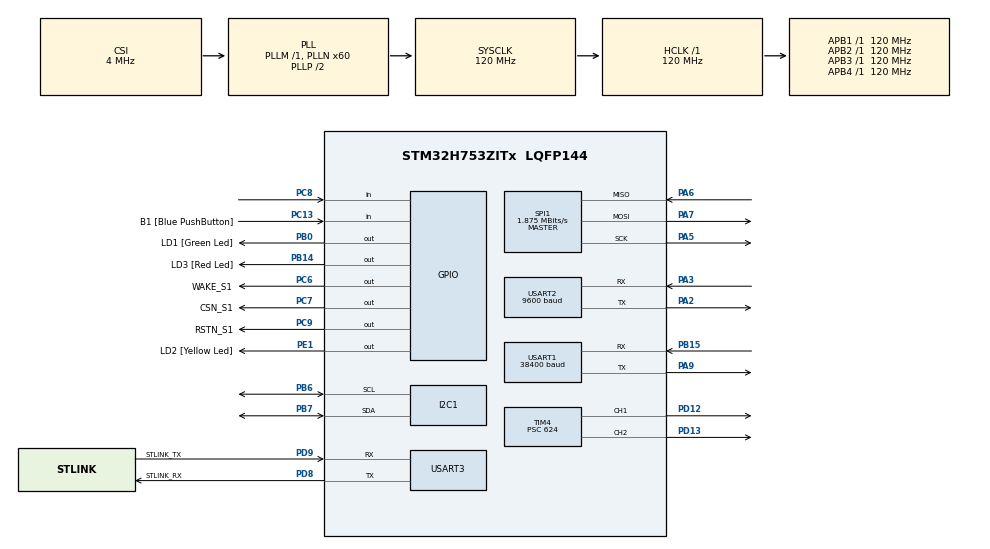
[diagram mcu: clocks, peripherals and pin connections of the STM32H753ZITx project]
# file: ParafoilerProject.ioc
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CORTEX_M7.CPU_DCache=Disabled
CORTEX_M7.CPU_ICache=Disabled
CORTEX_M7.MPU_Control=__NULL
CORTEX_M7.default_mode_Activation=1
Dma.Request0=USART1_RX
Dma.USART1_RX.0.Direction=DMA_PERIPH_TO_MEMORY
Dma.USART1_RX.0.EventEnable=DISABLE
Dma.USART1_RX.0.FIFOMode=DMA_FIFOMODE_DISABLE
Dma.USART1_RX.0.Instance=DMA1_Stream0
Dma.USART1_RX.0.MemDataAlignment=DMA_MDATAALIGN_BYTE
Dma.USART1_RX.0.MemInc=DMA_MINC_ENABLE
Dma.USART1_RX.0.Mode=DMA_NORMAL
Dma.USART1_RX.0.PeriphDataAlignment=DMA_PDATAALIGN_BYTE
Dma.USART1_RX.0.PeriphInc=DMA_PINC_DISABLE
Dma.USART1_RX.0.Polarity=HAL_DMAMUX_REQ_GEN_RISING
Dma.USART1_RX.0.Priority=DMA_PRIORITY_HIGH
Dma.USART1_RX.0.RequestNumber=1
Dma.USART1_RX.0.SignalID=NONE
Dma.USART1_RX.0.SyncEnable=DISABLE
Dma.USART1_RX.0.SyncPolarity=HAL_DMAMUX_SYNC_NO_EVENT
Dma.USART1_RX.0.SyncRequestNumber=1
Dma.USART1_RX.0.SyncSignalID=NONE
FREERTOS.BinarySemaphores01=newCoordAvailable_sem,Dynamic,NULL,Depleted
FREERTOS.Tasks01=defaultTask,40,128,StartDefaultTask,Default,NULL,Dynamic,NULL,NULL;readGPS,24,128,read_GPS,Default,NULL,Dynamic,NULL,NULL;UpdateServos,24,128,updateServos,Default,NULL,Dynamic,NULL,NULL;ReadCoord,8,128,readCoord,Default,NULL,Dynamic,NULL,NULL;SendData,8,128,sendData,Default,NULL,Dynamic,NULL,NULL
FREERTOS.configUSE_NEWLIB_REENTRANT=1
Mcu.Family=STM32H7
Mcu.Name=STM32H753ZITx
Mcu.Package=LQFP144
NVIC.DMA1_Stream0_IRQn=true\:5\:0\:false\:false\:true\:true\:false\:true\:true
NVIC.I2C1_ER_IRQn=true\:5\:0\:false\:false\:true\:true\:true\:true\:true
NVIC.I2C1_EV_IRQn=true\:5\:0\:false\:false\:true\:true\:true\:true\:true
NVIC.PriorityGroup=NVIC_PRIORITYGROUP_4
NVIC.TIM6_DAC_IRQn=true\:15\:0\:false\:false\:true\:false\:false\:true\:true
NVIC.TimeBase=TIM6_DAC_IRQn
NVIC.TimeBaseIP=TIM6
NVIC.USART1_IRQn=true\:5\:0\:false\:false\:true\:true\:true\:true\:true
NVIC.USART2_IRQn=true\:5\:0\:false\:false\:true\:true\:true\:true\:true
PA2.Mode=Asynchronous
PA2.Signal=USART2_TX
PA3.Mode=Asynchronous
PA3.Signal=USART2_RX
PA5.Mode=Full_Duplex_Master
PA5.Signal=SPI1_SCK
PA6.Mode=Full_Duplex_Master
PA6.Signal=SPI1_MISO
PA7.Mode=Full_Duplex_Master
PA7.Signal=SPI1_MOSI
PA9.Mode=Asynchronous
PA9.Signal=USART1_TX
PB0.GPIO_Label=LD1 [Green Led]
PB0.Signal=GPIO_Output
PB14.GPIO_Label=LD3 [Red Led]
PB14.Signal=GPIO_Output
PB15.Mode=Asynchronous
PB15.Signal=USART1_RX
PB6.Mode=I2C
PB6.Signal=I2C1_SCL
PB7.Mode=I2C
PB7.Signal=I2C1_SDA
PC13.GPIO_Label=B1 [Blue PushButton]
PC13.Signal=GPIO_Input
PC14-OSC32_IN\ (OSC32_IN).Signal=RCC_OSC32_IN
PC15-OSC32_OUT\ (OSC32_OUT).Signal=RCC_OSC32_OUT
PC6.GPIO_Label=WAKE_S1
PC6.Signal=GPIO_Output
PC7.GPIO_Label=CSN_S1
PC7.Signal=GPIO_Output
PC8.Signal=GPIO_Input
PC9.GPIO_Label=RSTN_S1
PC9.Signal=GPIO_Output
PD12.Signal=S_TIM4_CH1
PD13.Signal=S_TIM4_CH2
PD8.GPIO_Label=STLINK_RX
PD8.Mode=Asynchronous
PD8.Signal=USART3_TX
PD9.GPIO_Label=STLINK_TX
PD9.Mode=Asynchronous
PD9.Signal=USART3_RX
PE1.GPIO_Label=LD2 [Yellow Led]
PE1.Signal=GPIO_Output
PH0-OSC_IN\ (PH0).Signal=RCC_OSC_IN
PH1-OSC_OUT\ (PH1).Signal=RCC_OSC_OUT
ProjectManager.HeapSize=0x200
ProjectManager.StackSize=0x400
ProjectManager.TargetToolchain=STM32CubeIDE
RCC.ADCFreq_Value=8062500
RCC.APB1Freq_Value=120000000
RCC.APB2Freq_Value=120000000
RCC.APB3Freq_Value=120000000
RCC.APB4Freq_Value=120000000
RCC.CortexFreq_Value=120000000
RCC.DIVM1=1
RCC.DIVN1=60
RCC.HCLKFreq_Value=120000000
RCC.HSE_VALUE=8000000
RCC.I2C123CLockSelection=RCC_I2C123CLKSOURCE_HSI
RCC.PLLFRACN=0
RCC.PLLSourceVirtual=RCC_PLLSOURCE_CSI
RCC.PWR_Regulator_Voltage_Scale=PWR_REGULATOR_VOLTAGE_SCALE2
RCC.SYSCLKFreq_VALUE=120000000
RCC.SYSCLKSource=RCC_SYSCLKSOURCE_PLLCLK
RCC.USART16CLockSelection=RCC_USART16CLKSOURCE_HSI
RCC.USART234578CLockSelection=RCC_USART234578CLKSOURCE_HSI
RCC.USBFreq_Value=120000000
SH.S_TIM4_CH1.0=TIM4_CH1,PWM Generation1 CH1
SH.S_TIM4_CH2.0=TIM4_CH2,PWM Generation2 CH2
SPI1.BaudRatePrescaler=SPI_BAUDRATEPRESCALER_64
SPI1.CLKPhase=SPI_PHASE_2EDGE
SPI1.CLKPolarity=SPI_POLARITY_HIGH
SPI1.CalculateBaudRate=1.875 MBits/s
SPI1.DataSize=SPI_DATASIZE_8BIT
SPI1.Direction=SPI_DIRECTION_2LINES
SPI1.Mode=SPI_MODE_MASTER
SPI1.NSSPMode=SPI_NSS_PULSE_DISABLE
SPI1.VirtualType=VM_MASTER
TIM4.Channel-PWM\ Generation1\ CH1=TIM_CHANNEL_1
TIM4.Channel-PWM\ Generation2\ CH2=TIM_CHANNEL_2
TIM4.Period=3840
TIM4.Prescaler=624
USART1.BaudRate=38400
USART1.VirtualMode-Asynchronous=VM_ASYNC
USART2.BaudRate=9600
USART2.VirtualMode-Asynchronous=VM_ASYNC
USART3.VirtualMode-Asynchronous=VM_ASYNC
VP_FREERTOS_VS_CMSIS_V2.Mode=CMSIS_V2
VP_MEMORYMAP_VS_MEMORYMAP.Mode=CurAppReg
VP_SYS_VS_tim6.Mode=TIM6
VP_TIM4_VS_ClockSourceINT.Mode=Internal
board=NUCLEO-H753ZI

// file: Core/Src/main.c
/* USER CODE BEGIN Header */
/**
  ******************************************************************************
  * @file           : main.c
  * @brief          : Main program body
  ******************************************************************************
  * @attention
  *
  * Copyright (c) 2025 STMicroelectronics.
  * All rights reserved.
  *
  * This software is licensed under terms that can be found in the LICENSE file
  * in the root directory of this software component.
  * If no LICENSE file comes with this software, it is provided AS-IS.
  *
  ******************************************************************************
  */
/* USER CODE END Header */
#include "main.h"
#include "cmsis_os.h"

/* USER CODE BEGIN Includes */
#include "spi.h"
#include "Xbee.h"
#include <stdio.h>
#include "Servo.h"
#include "NEO_M9_UART.h"
#include <math.h>
#include <string.h>
#include <Hardware_Init.h>
/* USER CODE END Includes */

/* USER CODE BEGIN PD */
#define SPI1_PORT       GPIOA
#define SPI1_SCK_PIN    GPIO_PIN_5
#define SPI1_MISO_PIN   GPIO_PIN_6
#define SPI1_MOSI_PIN   GPIO_PIN_7
#define SPI1_AF_MAPPING GPIO_AF5_SPI1

#define CSN_PORT_S1     CSN_S1_GPIO_Port
#define CSN_PIN_S1      CSN_S1_Pin
#define INTN_PORT_S1    GPIOC
#define INTN_PIN_S1     GPIO_PIN_8
#define RSTN_PORT_S1    RSTN_S1_GPIO_Port
#define RSTN_PIN_S1     RSTN_S1_Pin
#define WAKE_PORT_S1    WAKE_S1_GPIO_Port
#define WAKE_PIN_S1     WAKE_S1_Pin
/* USER CODE END PD */

I2C_HandleTypeDef hi2c1;

TIM_HandleTypeDef htim4;

UART_HandleTypeDef huart1;
UART_HandleTypeDef huart2;
UART_HandleTypeDef huart3;
DMA_HandleTypeDef hdma_usart1_rx;

/* USER CODE BEGIN PV */
sensor_meta sensor1 = {0}; // zero-initialize the sensor metadata struct

extern uint8_t NEW_COORD_BUF[8];
extern volatile uint8_t new_coord_flag;
extern osSemaphoreId_t gpsDataReadySemHandle;
GPS_Info currLocation = {0};
GPS_Info targetLocation = {0};

volatile uint16_t gps_data_length = 0;

/* USER CODE END PV */

void SystemClock_Config(void);
static void MX_GPIO_Init(void);
static void MX_DMA_Init(void);
static void MX_USART2_UART_Init(void);
static void MX_USART3_UART_Init(void);
static void MX_TIM4_Init(void);
static void MX_I2C1_Init(void);
static void MX_USART1_UART_Init(void);

/* USER CODE BEGIN PFP */
static void MX_DWT_Init(void);

/* USER CODE END PFP */

/* USER CODE BEGIN 0 */
// This is the required shim function for microsecond delays
void delay_Us(uint32_t micros) {
    uint32_t start = DWT->CYCCNT;
    uint32_t cycles = micros * (SystemCoreClock / 1000000);
    while ((DWT->CYCCNT - start) < cycles) {
    }
}

/* USER CODE END 0 */

int main(void)
{

  /* MCU Configuration--------------------------------------------------------*/

  /* Reset of all peripherals, Initializes the Flash interface and the Systick. */
  HAL_Init();

  /* Configure the system clock */
  SystemClock_Config();

  /* Initialize all configured peripherals */
  MX_GPIO_Init();
  MX_DMA_Init();
  MX_USART2_UART_Init();
  MX_USART3_UART_Init();
  MX_TIM4_Init();
  MX_I2C1_Init();
  MX_USART1_UART_Init();
  MX_SPI1_Init();
  /* USER CODE BEGIN 2 */
  MX_DWT_Init(); // Initialize the cycle counter for delay_Us
  extern uint8_t _end;
  extern uint8_t _estack;
  uint32_t total_ram = (uint32_t)&_estack - (uint32_t)&_end;
  printf("Total available RAM: %lu bytes\r\n", total_ram);
  uint8_t startup_status = N_ERR;

  HAL_Delay(1000);
  // 1. Register Sensor Pins
  register_Sensor(&sensor1, 1, CSN_PIN_S1, CSN_PORT_S1, INTN_PIN_S1, INTN_PORT_S1, RSTN_PIN_S1, RSTN_PORT_S1);

  // 2. Initialize the library's hardware functions.
  bno085_library_spi_config_struct spi_config = {
      .SPI_Instance = SPI1
  };
  init_Hardware_BNO085(&hspi1, spi_config);

  // 3. Initialize the BNO085 Sensor
  printf("Initializing BNO085...\r\n");
  HAL_GPIO_WritePin(WAKE_PORT_S1, WAKE_PIN_S1, GPIO_PIN_SET);
  HAL_Delay(10);  // Give time for the pin to stabilize
  // Ensure CSN is HIGH (deselected) before reset
  HAL_GPIO_WritePin(CSN_PORT_S1, CSN_PIN_S1, GPIO_PIN_SET);
  HAL_Delay(10);
  // 3. Initialize GPIO and perform hard reset
  init_GPIO_IMU(&sensor1);
  // Ensure WAKE is still HIGH after GPIO init
  HAL_GPIO_WritePin(WAKE_PORT_S1, WAKE_PIN_S1, GPIO_PIN_SET);
  HAL_Delay(10);
  // Perform hard reset
  printf("Performing hard reset...\r\n");
  hardreset_IMU(&sensor1);
  // Wait longer for sensor to boot after reset
  HAL_Delay(500);
  // Check INTN pin - should be LOW if sensor has data
  printf("INTN pin state after reset: %d (should be 0)\r\n",
         HAL_GPIO_ReadPin(sensor1.ports_pins.INTN_Port,
                          sensor1.ports_pins.INTN_Pin));
  // clear advertisement packets
  printf("Clearing first advertisement packet...\r\n");
  startup_status = clear_init_Message_IMU(&sensor1);
  if(startup_status != N_ERR) {
      printf("Error: BNO085 did not send first advertisement packet.\r\n");
      printf("This likely means sensor is not in SPI mode or not powered correctly.\r\n");
      Error_Handler();
  }
  printf("First advertisement packet cleared.\r\n");

  // Clear the second advertisement packet
  HAL_Delay(50);
  printf("Clearing second advertisement packet...\r\n");
  startup_status = clear_init_Message_IMU(&sensor1);
  if(startup_status != N_ERR) {
      printf("Error: BNO085 did not send second advertisement packet.\r\n");
      Error_Handler();
  }
  printf("BNO085 advertisement packets cleared.\r\n");
  printf("BNO085 initialization successful.\r\n");
  printf("Initializing XBee...\r\n");
  xbee_init(&huart2);
  printf("Starting servo PWM...\r\n");
  servo_init(&htim4);
  printf("Configuring GPS module...\r\n");
  M9N_Init(&huart1);
  printf("About to initialize RTOS...\r\n");
  printf("Heap configuration: %d bytes\r\n", configTOTAL_HEAP_SIZE);
  // Check if heap_4.c is properly linked
  /* USER CODE END 2 */

  /* Init scheduler */
  osKernelInitialize();
  /* USER CODE BEGIN RTOS_MUTEX */
  printf("RTOS Kernel Initialized.\r\n");
  /* add mutexes, ... */
  /* USER CODE END RTOS_MUTEX */

  /* USER CODE BEGIN RTOS_EVENTS */
  /* add events, ... */
  printf("About to call MX_FREERTOS_Init()...\r\n");
  MX_FREERTOS_Init();
  printf("MX_FREERTOS_Init() complete.\r\n");
  printf("Free heap after task creation: %lu bytes\r\n", xPortGetFreeHeapSize());
  printf("Starting Scheduler...\r\n");
  /* USER CODE END RTOS_EVENTS */

  /* Start scheduler */

  osKernelStart();

  /* We should never get here as control is now taken by the scheduler */

  /* Infinite loop */
  while (1)
  {

  }
}

void SystemClock_Config(void)
{
  RCC_OscInitTypeDef RCC_OscInitStruct = {0};
  RCC_ClkInitTypeDef RCC_ClkInitStruct = {0};

  /** Supply configuration update enable
  */
  HAL_PWREx_ConfigSupply(PWR_LDO_SUPPLY);

  /** Configure the main internal regulator output voltage
  */
  __HAL_PWR_VOLTAGESCALING_CONFIG(PWR_REGULATOR_VOLTAGE_SCALE2);

  while(!__HAL_PWR_GET_FLAG(PWR_FLAG_VOSRDY)) {}

  /** Initializes the RCC Oscillators according to the specified parameters
  * in the RCC_OscInitTypeDef structure.
  */
  RCC_OscInitStruct.OscillatorType = RCC_OSCILLATORTYPE_CSI|RCC_OSCILLATORTYPE_HSI;
  RCC_OscInitStruct.HSIState = RCC_HSI_DIV1;
  RCC_OscInitStruct.HSICalibrationValue = RCC_HSICALIBRATION_DEFAULT;
  RCC_OscInitStruct.CSIState = RCC_CSI_ON;
  RCC_OscInitStruct.CSICalibrationValue = RCC_CSICALIBRATION_DEFAULT;
  RCC_OscInitStruct.PLL.PLLState = RCC_PLL_ON;
  RCC_OscInitStruct.PLL.PLLSource = RCC_PLLSOURCE_CSI;
  RCC_OscInitStruct.PLL.PLLM = 1;
  RCC_OscInitStruct.PLL.PLLN = 60;
  RCC_OscInitStruct.PLL.PLLP = 2;
  RCC_OscInitStruct.PLL.PLLQ = 2;
  RCC_OscInitStruct.PLL.PLLR = 2;
  RCC_OscInitStruct.PLL.PLLRGE = RCC_PLL1VCIRANGE_2;
  RCC_OscInitStruct.PLL.PLLVCOSEL = RCC_PLL1VCOWIDE;
  RCC_OscInitStruct.PLL.PLLFRACN = 0;
  if (HAL_RCC_OscConfig(&RCC_OscInitStruct) != HAL_OK)
  {
    Error_Handler();
  }

  /** Initializes the CPU, AHB and APB buses clocks
  */
  RCC_ClkInitStruct.ClockType = RCC_CLOCKTYPE_HCLK|RCC_CLOCKTYPE_SYSCLK
                              |RCC_CLOCKTYPE_PCLK1|RCC_CLOCKTYPE_PCLK2
                              |RCC_CLOCKTYPE_D3PCLK1|RCC_CLOCKTYPE_D1PCLK1;
  RCC_ClkInitStruct.SYSCLKSource = RCC_SYSCLKSOURCE_PLLCLK;
  RCC_ClkInitStruct.SYSCLKDivider = RCC_SYSCLK_DIV1;
  RCC_ClkInitStruct.AHBCLKDivider = RCC_HCLK_DIV1;
  RCC_ClkInitStruct.APB3CLKDivider = RCC_APB3_DIV1;
  RCC_ClkInitStruct.APB1CLKDivider = RCC_APB1_DIV1;
  RCC_ClkInitStruct.APB2CLKDivider = RCC_APB2_DIV1;
  RCC_ClkInitStruct.APB4CLKDivider = RCC_APB4_DIV1;

  if (HAL_RCC_ClockConfig(&RCC_ClkInitStruct, FLASH_LATENCY_2) != HAL_OK)
  {
    Error_Handler();
  }
}

static void MX_I2C1_Init(void)
{

  hi2c1.Instance = I2C1;
  hi2c1.Init.Timing = 0x10707DBC;
  hi2c1.Init.OwnAddress1 = 0;
  hi2c1.Init.AddressingMode = I2C_ADDRESSINGMODE_7BIT;
  hi2c1.Init.DualAddressMode = I2C_DUALADDRESS_DISABLE;
  hi2c1.Init.OwnAddress2 = 0;
  hi2c1.Init.OwnAddress2Masks = I2C_OA2_NOMASK;
  hi2c1.Init.GeneralCallMode = I2C_GENERALCALL_DISABLE;
  hi2c1.Init.NoStretchMode = I2C_NOSTRETCH_DISABLE;
  if (HAL_I2C_Init(&hi2c1) != HAL_OK)
  {
    Error_Handler();
  }

  /** Configure Analogue filter
  */
  if (HAL_I2CEx_ConfigAnalogFilter(&hi2c1, I2C_ANALOGFILTER_ENABLE) != HAL_OK)
  {
    Error_Handler();
  }

  /** Configure Digital filter
  */
  if (HAL_I2CEx_ConfigDigitalFilter(&hi2c1, 0) != HAL_OK)
  {
    Error_Handler();
  }

}

static void MX_TIM4_Init(void)
{

  TIM_ClockConfigTypeDef sClockSourceConfig = {0};
  TIM_MasterConfigTypeDef sMasterConfig = {0};
  TIM_OC_InitTypeDef sConfigOC = {0};

  htim4.Instance = TIM4;
  htim4.Init.Prescaler = 624;
  htim4.Init.CounterMode = TIM_COUNTERMODE_UP;
  htim4.Init.Period = 3840;
  htim4.Init.ClockDivision = TIM_CLOCKDIVISION_DIV1;
  htim4.Init.AutoReloadPreload = TIM_AUTORELOAD_PRELOAD_DISABLE;
  if (HAL_TIM_Base_Init(&htim4) != HAL_OK)
  {
    Error_Handler();
  }
  sClockSourceConfig.ClockSource = TIM_CLOCKSOURCE_INTERNAL;
  if (HAL_TIM_ConfigClockSource(&htim4, &sClockSourceConfig) != HAL_OK)
  {
    Error_Handler();
  }
  if (HAL_TIM_PWM_Init(&htim4) != HAL_OK)
  {
    Error_Handler();
  }
  sMasterConfig.MasterOutputTrigger = TIM_TRGO_RESET;
  sMasterConfig.MasterSlaveMode = TIM_MASTERSLAVEMODE_DISABLE;
  if (HAL_TIMEx_MasterConfigSynchronization(&htim4, &sMasterConfig) != HAL_OK)
  {
    Error_Handler();
  }
  sConfigOC.OCMode = TIM_OCMODE_PWM1;
  sConfigOC.Pulse = 0;
  sConfigOC.OCPolarity = TIM_OCPOLARITY_HIGH;
  sConfigOC.OCFastMode = TIM_OCFAST_DISABLE;
  if (HAL_TIM_PWM_ConfigChannel(&htim4, &sConfigOC, TIM_CHANNEL_1) != HAL_OK)
  {
    Error_Handler();
  }
  if (HAL_TIM_PWM_ConfigChannel(&htim4, &sConfigOC, TIM_CHANNEL_2) != HAL_OK)
  {
    Error_Handler();
  }
  HAL_TIM_MspPostInit(&htim4);

}

static void MX_USART1_UART_Init(void)
{

  huart1.Instance = USART1;
  huart1.Init.BaudRate = 38400;
  huart1.Init.WordLength = UART_WORDLENGTH_8B;
  huart1.Init.StopBits = UART_STOPBITS_1;
  huart1.Init.Parity = UART_PARITY_NONE;
  huart1.Init.Mode = UART_MODE_TX_RX;
  huart1.Init.HwFlowCtl = UART_HWCONTROL_NONE;
  huart1.Init.OverSampling = UART_OVERSAMPLING_16;
  huart1.Init.OneBitSampling = UART_ONE_BIT_SAMPLE_DISABLE;
  huart1.Init.ClockPrescaler = UART_PRESCALER_DIV1;
  huart1.AdvancedInit.AdvFeatureInit = UART_ADVFEATURE_NO_INIT;
  if (HAL_UART_Init(&huart1) != HAL_OK)
  {
    Error_Handler();
  }
  if (HAL_UARTEx_SetTxFifoThreshold(&huart1, UART_TXFIFO_THRESHOLD_1_8) != HAL_OK)
  {
    Error_Handler();
  }
  if (HAL_UARTEx_SetRxFifoThreshold(&huart1, UART_RXFIFO_THRESHOLD_1_8) != HAL_OK)
  {
    Error_Handler();
  }
  if (HAL_UARTEx_DisableFifoMode(&huart1) != HAL_OK)
  {
    Error_Handler();
  }
  /* USER CODE BEGIN USART1_Init 2 */
  // Manually link the DMA handle to the UART handle.
  // This is critical for HAL_UARTEx_ReceiveToIdle_DMA to work correctly.
  __HAL_LINKDMA(&huart1, hdmarx, hdma_usart1_rx);
  /* USER CODE END USART1_Init 2 */

}

static void MX_USART2_UART_Init(void)
{

  huart2.Instance = USART2;
  huart2.Init.BaudRate = 9600;
  huart2.Init.WordLength = UART_WORDLENGTH_8B;
  huart2.Init.StopBits = UART_STOPBITS_1;
  huart2.Init.Parity = UART_PARITY_NONE;
  huart2.Init.Mode = UART_MODE_TX_RX;
  huart2.Init.HwFlowCtl = UART_HWCONTROL_NONE;
  huart2.Init.OverSampling = UART_OVERSAMPLING_16;
  huart2.Init.OneBitSampling = UART_ONE_BIT_SAMPLE_DISABLE;
  huart2.Init.ClockPrescaler = UART_PRESCALER_DIV1;
  huart2.AdvancedInit.AdvFeatureInit = UART_ADVFEATURE_NO_INIT;
  if (HAL_UART_Init(&huart2) != HAL_OK)
  {
    Error_Handler();
  }
  if (HAL_UARTEx_SetTxFifoThreshold(&huart2, UART_TXFIFO_THRESHOLD_1_8) != HAL_OK)
  {
    Error_Handler();
  }
  if (HAL_UARTEx_SetRxFifoThreshold(&huart2, UART_RXFIFO_THRESHOLD_1_8) != HAL_OK)
  {
    Error_Handler();
  }
  if (HAL_UARTEx_DisableFifoMode(&huart2) != HAL_OK)
  {
    Error_Handler();
  }

}

static void MX_USART3_UART_Init(void)
{

  huart3.Instance = USART3;
  huart3.Init.BaudRate = 115200;
  huart3.Init.WordLength = UART_WORDLENGTH_8B;
  huart3.Init.StopBits = UART_STOPBITS_1;
  huart3.Init.Parity = UART_PARITY_NONE;
  huart3.Init.Mode = UART_MODE_TX_RX;
  huart3.Init.HwFlowCtl = UART_HWCONTROL_NONE;
  huart3.Init.OverSampling = UART_OVERSAMPLING_16;
  huart3.Init.OneBitSampling = UART_ONE_BIT_SAMPLE_DISABLE;
  huart3.Init.ClockPrescaler = UART_PRESCALER_DIV1;
  huart3.AdvancedInit.AdvFeatureInit = UART_ADVFEATURE_NO_INIT;
  if (HAL_UART_Init(&huart3) != HAL_OK)
  {
    Error_Handler();
  }
  if (HAL_UARTEx_SetTxFifoThreshold(&huart3, UART_TXFIFO_THRESHOLD_1_8) != HAL_OK)
  {
    Error_Handler();
  }
  if (HAL_UARTEx_SetRxFifoThreshold(&huart3, UART_RXFIFO_THRESHOLD_1_8) != HAL_OK)
  {
    Error_Handler();
  }
  if (HAL_UARTEx_DisableFifoMode(&huart3) != HAL_OK)
  {
    Error_Handler();
  }

}

static void MX_DMA_Init(void)
{

  /* DMA controller clock enable */
  __HAL_RCC_DMA1_CLK_ENABLE();

  /* DMA interrupt init */
  /* DMA1_Stream0_IRQn interrupt configuration */
  HAL_NVIC_SetPriority(DMA1_Stream0_IRQn, 5, 0);
  HAL_NVIC_EnableIRQ(DMA1_Stream0_IRQn);

}

static void MX_GPIO_Init(void)
{
  GPIO_InitTypeDef GPIO_InitStruct = {0};

  /* GPIO Ports Clock Enable */
  __HAL_RCC_GPIOC_CLK_ENABLE();
  __HAL_RCC_GPIOH_CLK_ENABLE();
  __HAL_RCC_GPIOA_CLK_ENABLE();
  __HAL_RCC_GPIOB_CLK_ENABLE();
  __HAL_RCC_GPIOD_CLK_ENABLE();
  __HAL_RCC_GPIOE_CLK_ENABLE();

  /* USER CODE BEGIN */

  /*Configure GPIO pin Output Level */
    HAL_GPIO_WritePin(GPIOC, WAKE_S1_Pin|CSN_S1_Pin|RSTN_S1_Pin, GPIO_PIN_RESET);

    /*Configure GPIO pin Output Level */
    HAL_GPIO_WritePin(GPIOB, LD1_Pin|LD3_Pin, GPIO_PIN_RESET);

    /*Configure GPIO pin Output Level */
    HAL_GPIO_WritePin(LD2_GPIO_Port, LD2_Pin, GPIO_PIN_RESET);

    /*Configure GPIO pins : B1_Pin PC8 */
    GPIO_InitStruct.Pin = B1_Pin;
    GPIO_InitStruct.Mode = GPIO_MODE_INPUT;
    GPIO_InitStruct.Pull = GPIO_NOPULL;
    HAL_GPIO_Init(GPIOC, &GPIO_InitStruct);

    GPIO_InitStruct.Pin = GPIO_PIN_8;
    GPIO_InitStruct.Mode = GPIO_MODE_IT_FALLING;  // Interrupt on falling edge
    GPIO_InitStruct.Pull = GPIO_PULLUP;           // Pull-up resistor
    HAL_GPIO_Init(GPIOC, &GPIO_InitStruct);

    /*Configure GPIO pin : LD2_Pin */
	  GPIO_InitStruct.Pin = LD2_Pin;
	  GPIO_InitStruct.Mode = GPIO_MODE_OUTPUT_PP;
	  GPIO_InitStruct.Pull = GPIO_NOPULL;
	  GPIO_InitStruct.Speed = GPIO_SPEED_FREQ_LOW;
	  HAL_GPIO_Init(LD2_GPIO_Port, &GPIO_InitStruct);

	  HAL_NVIC_SetPriority(EXTI9_5_IRQn, 6, 0);  // Priority 6 (lower than FreeRTOS max of 5)
	  /*Configure GPIO pin : LD2_Pin */
	  HAL_NVIC_EnableIRQ(EXTI9_5_IRQn);

    /* USER CODE END */

  /*Configure GPIO pins : LD1_Pin LD3_Pin */
  GPIO_InitStruct.Pin = LD1_Pin|LD3_Pin;
  GPIO_InitStruct.Mode = GPIO_MODE_OUTPUT_PP;
  GPIO_InitStruct.Pull = GPIO_NOPULL;
  GPIO_InitStruct.Speed = GPIO_SPEED_FREQ_LOW;
  HAL_GPIO_Init(GPIOB, &GPIO_InitStruct);

  /*Configure GPIO pins : WAKE_S1_Pin CSN_S1_Pin RSTN_S1_Pin */
  GPIO_InitStruct.Pin = WAKE_S1_Pin|CSN_S1_Pin|RSTN_S1_Pin;
  GPIO_InitStruct.Mode = GPIO_MODE_OUTPUT_PP;
  GPIO_InitStruct.Pull = GPIO_NOPULL;
  GPIO_InitStruct.Speed = GPIO_SPEED_FREQ_LOW;
  HAL_GPIO_Init(GPIOC, &GPIO_InitStruct);

//  /*Configure GPIO pin : LD2_Pin */
//  GPIO_InitStruct.Pin = LD2_Pin;
//  GPIO_InitStruct.Mode = GPIO_MODE_OUTPUT_PP;
//  GPIO_InitStruct.Pull = GPIO_NOPULL;
//  GPIO_InitStruct.Speed = GPIO_SPEED_FREQ_LOW;
//  HAL_GPIO_Init(LD2_GPIO_Port, &GPIO_InitStruct);

}

/* USER CODE BEGIN 4 */
#ifdef __GNUC__
#define PUTCHAR_PROTOTYPE int __io_putchar(int ch)
#else
  #define PUTCHAR_PROTOTYPE int fputc(int ch, FILE *f)
#endif /* __GNUC__ */
PUTCHAR_PROTOTYPE
{
  HAL_UART_Transmit(&huart3, (uint8_t *)&ch, 1, 0xFFFF);
  return ch;
}

void HAL_UARTEx_RxEventCallback(UART_HandleTypeDef *huart, uint16_t Size)
{
    if (huart->Instance == USART1)
    {
        // Only process if size is reasonable and different from last
        static uint16_t last_size = 0;
        static uint32_t last_tick = 0;
        uint32_t current_tick = HAL_GetTick();

        // Ignore duplicate callbacks within 50ms with same size
        if (Size == last_size && (current_tick - last_tick) < 50) {
            // Still restart DMA to prevent overrun
            HAL_UARTEx_ReceiveToIdle_DMA(huart, (uint8_t *)gpsRxBuffer, RX_BUFFER_LEN);
            __HAL_DMA_DISABLE_IT(huart->hdmarx, DMA_IT_HT);
            return;
        }

        last_size = Size;
        last_tick = current_tick;

        gps_data_length = Size;

        // Signal task to process data (only if semaphore exists - RTOS is running)
        if (gpsDataReadySemHandle != NULL) {
            osSemaphoreRelease(gpsDataReadySemHandle);
        }

        // CRITICAL: Restart DMA for next message
        HAL_UARTEx_ReceiveToIdle_DMA(huart, (uint8_t *)gpsRxBuffer, RX_BUFFER_LEN);
        __HAL_DMA_DISABLE_IT(huart->hdmarx, DMA_IT_HT);
    }
}

void vApplicationStackOverflowHook(TaskHandle_t xTask, char *pcTaskName)
{
    printf("\r\n!!! STACK OVERFLOW in task: %s !!!\r\n", pcTaskName);

    // Turn on RED LED to indicate critical error
    HAL_GPIO_WritePin(LD3_GPIO_Port, LD3_Pin, GPIO_PIN_SET);

    // Disable interrupts and blink green LED rapidly
    __disable_irq();
    while(1) {
        HAL_GPIO_TogglePin(LD1_GPIO_Port, LD1_Pin);

        // Busy wait delay (can't use HAL_Delay in fault handler)
        for(volatile uint32_t i = 0; i < 1000000; i++);
    }
}

void vApplicationMallocFailedHook(void)
{
    printf("\r\n!!! HEAP EXHAUSTED - malloc() failed !!!\r\n");

    // Turn on BOTH LEDs to indicate heap exhaustion
    HAL_GPIO_WritePin(LD1_GPIO_Port, LD1_Pin, GPIO_PIN_SET);
    HAL_GPIO_WritePin(LD3_GPIO_Port, LD3_Pin, GPIO_PIN_SET);

    __disable_irq();
    while(1) {
        // Freeze - heap is exhausted
    }
}

static void MX_DWT_Init(void){
	// Enable DWT and its cycle counter
	CoreDebug->DEMCR |= CoreDebug_DEMCR_TRCENA_Msk;
	DWT->CTRL |= DWT_CTRL_CYCCNTENA_Msk;
}

/* USER CODE END 4 */

void HAL_TIM_PeriodElapsedCallback(TIM_HandleTypeDef *htim)
{
  if (htim->Instance == TIM6)
  {
    HAL_IncTick();
  }
}

void Error_Handler(void)
{
  /* USER CODE BEGIN Error_Handler_Debug */
  /* User can add his own implementation to report the HAL error return state */
  printf("\r\n\r\n--- HAL ERROR ---\r\n");
  printf("An unrecoverable error occurred in a HAL driver.\r\n");
  printf("The system is now halted.\r\n");

  // Turn on LD3 (Red LED) to indicate a hard fault
  HAL_GPIO_WritePin(LD3_GPIO_Port, LD3_Pin, GPIO_PIN_SET);
  __disable_irq();
  while (1)
  {
      // Fast blink LD1 (Green LED) as a visual indicator of the error state
      HAL_GPIO_TogglePin(LD1_GPIO_Port, LD1_Pin);
      HAL_Delay(100);
  }
}
  /* USER CODE END Error_Handler_Debug */

#ifdef  USE_FULL_ASSERT
/**
  * @brief  Reports the name of the source file and the source line number
  *         where the assert_param error has occurred.
  * @param  file: pointer to the source file name
  * @param  line: assert_param error line source number
  * @retval None
  */
void assert_failed(uint8_t *file, uint32_t line)
{
  /* USER CODE BEGIN 6 */
  /* User can add his own implementation to report the file name and line number,
     ex: printf("Wrong parameters value: file %s on line %d\r\n", file, line) */
  printf("ASSERT FAILED: file %s on line %lu\r\n", file, line);
  /* USER CODE END 6 */
}
#endif /* USE_FULL_ASSERT */

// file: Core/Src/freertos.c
/* freertos.c - */

#include "FreeRTOS.h"
#include "task.h"
#include "main.h"
#include "cmsis_os.h"

#include <stdio.h>
#include <math.h>
#include <string.h>
#include "Servo.h"
#include "Xbee.h"
#include "NEO_M9_UART.h"
#include "Control.h"

osMutexId_t printfMutexHandle;
const osMutexAttr_t printfMutex_attributes = {
  .name = "printfMutex"
};

// Task Handles and Attributes
osThreadId_t readGPSHandle;
const osThreadAttr_t readGPS_attributes = {
  .name = "readGPS",
  .stack_size = 512 * 4,
  .priority = (osPriority_t) osPriorityHigh,
};

osThreadId_t UpdateServosHandle;
const osThreadAttr_t UpdateServos_attributes = {
  .name = "UpdateServos",
  .stack_size = 512 * 2,
  .priority = (osPriority_t) osPriorityNormal
};

//osThreadId_t MoveServosHandle;
//const osThreadAttr_t MoveServos_attributes = {
//  .name = "moveServos",
//  .stack_size = 512 * 2,
//  .priority = (osPriority_t) osPriorityHigh2,
//};

osThreadId_t ReadCoordHandle;
const osThreadAttr_t ReadCoord_attributes = {
  .name = "ReadCoord",
  .stack_size = 512 * 2,
  .priority = (osPriority_t) osPriorityBelowNormal,
};

osThreadId_t bno085TaskHandle;
const osThreadAttr_t bno085Task_attributes = {
  .name = "bno085Task",
  .stack_size = 512 * 4,
  .priority = (osPriority_t) osPriorityAboveNormal, // Lowered priority
};

osThreadId_t UpdateHeadingOffsetHandle;
const osThreadAttr_t UpdateHeadingOffset_attributes = {
  .name = "UpdateHeadingOffset",
  .stack_size = 512 * 2,
  .priority = (osPriority_t) osPriorityLow,
};

osThreadId_t SendDataHandle;
const osThreadAttr_t SendData_attributes = {
  .name = "SendData",
  .stack_size = 512 * 2,
  .priority = (osPriority_t) osPriorityLow,
};

// Semaphore Handle
osSemaphoreId_t gpsDataReadySemHandle;
const osSemaphoreAttr_t gpsDataReadySem_attributes = {
  .name = "gpsDataReadySem"
};

//Sempahore Handle IMU
osSemaphoreId_t imuDataReadySemHandle;
const osSemaphoreAttr_t imuDataReadySem_attributes = {
  .name = "imuDataReadySem"
};

osMutexId_t navDataMutexHandle;
const osMutexAttr_t navDataMutex_attributes = {
  .name = "navDataMutex"
};

// External hardware handles and variables needed by the tasks

volatile control_mode_t control_mode = MODE_GPS_AUTO;
volatile uint8_t manual_servo_command = 0;
volatile uint32_t last_manual_command_time = 0;

extern UART_HandleTypeDef huart1;
extern GPS_DATA_t myGpsData;
extern GPS_Info targetLocation;
extern volatile uint8_t new_coord_flag;
extern uint8_t NEW_COORD_BUF[8];
extern volatile uint8_t gpsRxBuffer[];
extern volatile uint16_t gps_data_length;
extern sensor_meta sensor1;
extern Servo_Instance_t ServoL; // Use the global instance
extern Servo_Instance_t ServoR;

//volatile float gps_cog = 0;

typedef struct {
    float imu_heading;      // 0-360 from IMU
    float heading_offset;   //
    float heading_real;     // 0-360 corrected heading
    float target_angle;     // 0-360 desired heading
    uint32_t lastGpsUpdateTick;
} NavData_t;

volatile NavData_t navData = {0};

volatile int servo_count = 0;

volatile float global_accel_x = 0, global_accel_y  = 0, global_accel_z = 0;
volatile float global_gyro_x = 0, global_gyro_y  = 0, global_gyro_z = 0;
volatile float global_quat_i = 0, global_quat_j = 0, global_quat_k = 0, global_quat_real = 0;

// Variable updates by GPS taskk every time it receives new data
// volatile uint32_t lastGpsUpdateTick = 0; // Moved into NavData struct

void read_GPS(void *argument);
void updateServos(void *argument);
//void moveServos(void *argument);
void readCoord(void *argument);
void StartBno085Task(void *argument);
void updateHeadingOffset(void *argument);
void sendData(void *argument);
const char* get_accuracy_string(uint8_t accuracy);

void MX_FREERTOS_Init(void);

void MX_FREERTOS_Init(void) {
  printfMutexHandle = osMutexNew(&printfMutex_attributes);
  if (printfMutexHandle == NULL) {
      printf("ERROR: printfMutex creation failed\r\n");
      Error_Handler();
  }

  gpsDataReadySemHandle = osSemaphoreNew(1, 0, &gpsDataReadySem_attributes);
  if (gpsDataReadySemHandle == NULL) {
      printf("ERROR: gpsDataReadySem creation failed\r\n");
      Error_Handler();
  }

  imuDataReadySemHandle = osSemaphoreNew(1, 0, &imuDataReadySem_attributes);
  if (imuDataReadySemHandle == NULL) {
      printf("ERROR: imuDataReadySem creation failed\r\n");
      Error_Handler();
  }
  navDataMutexHandle = osMutexNew(&navDataMutex_attributes);
  if (navDataMutexHandle == NULL) {
      printf("ERROR: navDataMutex creation failed\r\n");
      Error_Handler();
  }

  printf("Semaphore/mutex created successfully\r\n");

  printf("Creating readGPS task...\r\n");
  readGPSHandle = osThreadNew(read_GPS, NULL, &readGPS_attributes);
  if (readGPSHandle == NULL) { Error_Handler(); }
  printf("readGPS task created\r\n");

  printf("Creating UpdateServos task...\r\n");
  UpdateServosHandle = osThreadNew(updateServos, NULL, &UpdateServos_attributes);
  if (UpdateServosHandle == NULL) { Error_Handler(); }
  printf("UpdateServos task created\r\n");

//  printf("Creating MoveServos task...\r\n");
//  MoveServosHandle = osThreadNew(moveServos, NULL, &MoveServos_attributes);
//  if (MoveServosHandle == NULL) { Error_Handler(); }
//  printf("MoveServos task created\r\n");

  printf("Creating ReadCoord task...\r\n");
  ReadCoordHandle = osThreadNew(readCoord, NULL, &ReadCoord_attributes);
  if (ReadCoordHandle == NULL) { Error_Handler(); }
  printf("ReadCoord task created\r\n");

  printf("Creating bno085Task...\r\n");
  bno085TaskHandle = osThreadNew(StartBno085Task, NULL, &bno085Task_attributes);
  if (bno085TaskHandle == NULL) { Error_Handler(); }
  printf("bno085Task created\r\n");

  printf("Creating UpdateHeadingOffset task...\r\n");
  UpdateHeadingOffsetHandle = osThreadNew(updateHeadingOffset, NULL, &UpdateHeadingOffset_attributes);
  if (UpdateHeadingOffsetHandle == NULL) { Error_Handler(); }
  printf("UpdateHeadingOffset created\r\n");

  printf("Creating SendData task...\r\n");
  SendDataHandle = osThreadNew(sendData, NULL, &SendData_attributes);
  if (SendDataHandle == NULL) { Error_Handler(); }
  printf("SendData created\r\n");
}

void read_GPS(void *argument)
{
    uint8_t local_gps_buffer[RX_BUFFER_LEN];
    uint16_t local_data_length;
    float new_target_angle; // Local variable

    osMutexAcquire(printfMutexHandle, osWaitForever);
    printf("GPS Task Started\r\n");
    osMutexRelease(printfMutexHandle);

    HAL_UARTEx_ReceiveToIdle_DMA(&huart1, (uint8_t *)gpsRxBuffer, RX_BUFFER_LEN);
    __HAL_DMA_DISABLE_IT(huart1.hdmarx, DMA_IT_HT);

    osMutexAcquire(printfMutexHandle, osWaitForever);
    printf("GPS DMA reception started\r\n");
    osMutexRelease(printfMutexHandle);

    for(;;)
    {
        if (osSemaphoreAcquire(gpsDataReadySemHandle, osWaitForever) == osOK)
        {
        	//enter area where GPS data cannot be interrupted as we get its data
            taskENTER_CRITICAL();
            memcpy(local_gps_buffer, (void*)gpsRxBuffer, gps_data_length);
            local_data_length = gps_data_length;
            taskEXIT_CRITICAL();

            processGPS(local_gps_buffer, local_data_length);

            if(myGpsData.newData) {
                myGpsData.newData = 0;

                uint32_t current_tick = osKernelGetTickCount();

                /*
                osMutexAcquire(printfMutexHandle, osWaitForever);
                printf("GPS: %.6f, %.6f, %.1fm, Sats=%d, %.6f, %.6f\r\n",
                       myGpsData.Latitude, myGpsData.Longitude,
                       myGpsData.Altitude, myGpsData.Satellites, myGpsData.headMot, myGpsData.headAcc);
                osMutexRelease(printfMutexHandle);
                */
                // Print a safer version
                osMutexAcquire(printfMutexHandle, osWaitForever);
                printf("GPS: Sats=%d\r\n", myGpsData.Satellites);
                osMutexRelease(printfMutexHandle);

                // Need to read targetLocation safely
                float local_target_lon, local_target_lat;
                if (osMutexAcquire(navDataMutexHandle, 100) == osOK) {
                    local_target_lon = targetLocation.longitude;
                    local_target_lat = targetLocation.latitude;
                    osMutexRelease(navDataMutexHandle);
                } else {
                    // Failed to get mutex, skip this calculation
                    continue;
                }

                // Calculate the new target angle locally
                new_target_angle = calc_angle(local_target_lon, local_target_lat, myGpsData.Longitude, myGpsData.Latitude);

                // Use mutex to safely update shared nav data
                if (osMutexAcquire(navDataMutexHandle, 100) == osOK) {
                    navData.target_angle = new_target_angle;
                    navData.lastGpsUpdateTick = current_tick;
                    osMutexRelease(navDataMutexHandle);
                }

                osMutexAcquire(printfMutexHandle, osWaitForever);
                printf("Angle to turn (int): %d\r\n", (int)new_target_angle);
                osMutexRelease(printfMutexHandle);
            }
        }
    }
}

void updateServos(void *argument)
{
  osMutexAcquire(printfMutexHandle, osWaitForever);
  printf("UpdateServos Task Started.\r\n");
  osMutexRelease(printfMutexHandle);

  // Local copies of shared variables
  float local_target_angle;
  float local_heading_real;
  uint32_t local_lastGpsUpdateTick;

  // Wait for GPS fix or manual mode
  while (myGpsData.Fix_Type == 0 && control_mode == MODE_GPS_AUTO) {
      osMutexAcquire(printfMutexHandle, osWaitForever);
      printf("Servo Task: Waiting for GPS fix or manual control. Motor stopped.\r\n");
      osMutexRelease(printfMutexHandle);

      stop_servo(&ServoL);
      stop_servo(&ServoR);
      osDelay(1000);
  }

  osMutexAcquire(printfMutexHandle, osWaitForever);
  printf("Servo Task: Control active.\r\n");
  osMutexRelease(printfMutexHandle);

  // ServoL.last_update_tick = osKernelGetTickCount(); // This is set in servo_init
  // ServoR.last_update_tick = osKernelGetTickCount();

  for(;;)
  {
        uint32_t current_tick = osKernelGetTickCount();

        // Safely read the shared variable using mutex
        if (osMutexAcquire(navDataMutexHandle, 10) == osOK) {
            local_lastGpsUpdateTick = navData.lastGpsUpdateTick;
            osMutexRelease(navDataMutexHandle);
        } else {
            // Failed to get mutex, use stale data for this loop
        }

	    // Auto-exit FALLBACK manual mode when GPS+target is ready
	    if(control_mode == MODE_MANUAL_FALLBACK) {
            // Need to read targetLocation safely
            float local_target_lat = 0;
            if (osMutexAcquire(navDataMutexHandle, 10) == osOK) {
                local_target_lat = targetLocation.latitude;
                osMutexRelease(navDataMutexHandle);
            }

	        bool has_valid_fix = (myGpsData.Fix_Type > 0);
	        bool has_target = (local_target_lat != 0);

	        bool gps_is_fresh = (local_lastGpsUpdateTick > 0) && ((current_tick - local_lastGpsUpdateTick) < 2000);

	        if(has_valid_fix && has_target && gps_is_fresh) {
	            osMutexAcquire(printfMutexHandle, osWaitForever);
	            printf("Auto-switching from fallback to GPS control mode\r\n");
	            osMutexRelease(printfMutexHandle);
	            control_mode = MODE_GPS_AUTO;
	            manual_servo_command = 0;
	        }
	    }

	    // Execute control based on mode
	    if(control_mode == MODE_MANUAL_FALLBACK || control_mode == MODE_MANUAL_OVERRIDE) {
	        // Manual control (either fallback or override)
	        if(manual_servo_command == 1) {
	            spin_servo(&ServoL, SERVO_FORWARD_FAST);  // Left (Pull)
                spin_servo(&ServoR, SERVO_REVERSE_FAST); // Right (Release)
	        } else if(manual_servo_command == 2) {
	            spin_servo(&ServoR, SERVO_FORWARD_FAST);  // Right (Pull)
                spin_servo(&ServoL, SERVO_REVERSE_FAST); // Left (Release)
	        } else {
	            stop_servo(&ServoL);
	            stop_servo(&ServoR);
	        }
    }
    else {
        // Attempt at automatic gps-based control
        if (local_lastGpsUpdateTick == 0) {
            local_lastGpsUpdateTick = current_tick; // Initialize if it's zero
        }

        bool gps_signal_lost = (current_tick - local_lastGpsUpdateTick) > 2000;
        bool has_valid_fix = (myGpsData.Fix_Type > 0);

        // This logic is now handled by update_servo_runtime()
        // We MUST call this on every loop to keep the time tracking correct.
        update_servo_runtime(&ServoL);
        update_servo_runtime(&ServoR);

        osMutexAcquire(printfMutexHandle, osWaitForever);
        printf("ServoL run: %ld, ServoR run: %ld\r\n", ServoL.current_run_time, ServoR.current_run_time);
        osMutexRelease(printfMutexHandle);

        // Need to read targetLocation safely
        float local_target_lat = 0;
        if (osMutexAcquire(navDataMutexHandle, 10) == osOK) {
            local_target_lat = targetLocation.latitude;
            osMutexRelease(navDataMutexHandle);
        }

        if(has_valid_fix && local_target_lat != 0 && !gps_signal_lost)
        {
            // Add this print to prove we are in the block
            osMutexAcquire(printfMutexHandle, osWaitForever);
            printf("DEBUG: updateServos PASSED safety check.\r\n");
            osMutexRelease(printfMutexHandle);

            // Safely read shared variables using mutex
            if (osMutexAcquire(navDataMutexHandle, 10) == osOK) {
                local_target_angle = navData.target_angle;
                local_heading_real = navData.heading_real;
                osMutexRelease(navDataMutexHandle);
            } else {
                // Failed to get mutex, skip this control loop
                continue;
            }

            // CRITICAL LOGIC ERROR
            // The turn angle must be normalized to the range [-180, 180]
        	float turn_angle = normalize_angle(local_target_angle - local_heading_real);

            osMutexAcquire(printfMutexHandle, osWaitForever);
            printf("Target(int): %d, Current(int): %d, Turn(int): %d\r\n", (int)local_target_angle, (int)local_heading_real, (int)turn_angle);
            osMutexRelease(printfMutexHandle);

            if(fabs(turn_angle) >= 5) { // 5 degree deadband
                if(turn_angle < 0) {
                    // Need to turn left
                    osMutexAcquire(printfMutexHandle, osWaitForever);
                    printf("DEBUG: Calling turnLeft(%d)\r\n", (int)turn_angle);
                    osMutexRelease(printfMutexHandle);
                    turnLeft(turn_angle);
                } else if(turn_angle > 0){
                    // Need to turn right
                    osMutexAcquire(printfMutexHandle, osWaitForever);
                    printf("DEBUG: Calling turnRight(%d)\r\n", (int)turn_angle);
                    osMutexRelease(printfMutexHandle);
                    turnRight(turn_angle);
                }
            } else {
                // We are on target, go straight (stop servos)
                osMutexAcquire(printfMutexHandle, osWaitForever);
                printf("DEBUG: On target. Calling stop_servo()\r\n");
                osMutexRelease(printfMutexHandle);
                stop_servo(&ServoL);
                stop_servo(&ServoR);
            }
        } else {
            // No fix, no target, or lost signal = STOP
            stop_servo(&ServoL);
            stop_servo(&ServoR);
        }
    }

    // Reduced delay for a faster control loop (10 Hz)
    osDelay(100);
  }
}
//void moveServos(void *argument)
//{
//
//  TickType_t xLastWakeTime;
//  const TickType_t xFrequency = 1700;
//
//  // Initialise the xLastWakeTime variable with the current time.
//  xLastWakeTime = xTaskGetTickCount();
//
//  osMutexAcquire(printfMutexHandle, osWaitForever);
//  printf("MoveServos Task Started.\r\n");
//  osMutexRelease(printfMutexHandle);
//
//
//  for(;;)
//  {
//	  turnLeft(90);
//  }
//}

void readCoord(void *argument)
{
  osMutexAcquire(printfMutexHandle, osWaitForever);
  printf("ReadCoord Task Started.\r\n");
  osMutexRelease(printfMutexHandle);

  for(;;)
  {
    if(new_coord_flag) {
        new_coord_flag = 0;

        HAL_GPIO_WritePin(LD2_GPIO_Port, LD2_Pin, GPIO_PIN_RESET);

        int32_t lat = (NEW_COORD_BUF[0] << 24) | (NEW_COORD_BUF[1] << 16) |
                      (NEW_COORD_BUF[2] << 8) | NEW_COORD_BUF[3];
        int32_t lon = (NEW_COORD_BUF[4] << 24) | (NEW_COORD_BUF[5] << 16) |
                      (NEW_COORD_BUF[6] << 8) | NEW_COORD_BUF[7];

        float lat_float = (float)lat / 10000000.0f;
        float lon_float = (float)lon / 10000000.0f;

        // Protect shared variable write
        if (osMutexAcquire(navDataMutexHandle, 100) == osOK) {
            targetLocation.latitude = lat_float;
            targetLocation.longitude = lon_float;
            osMutexRelease(navDataMutexHandle);
        }

        osMutexAcquire(printfMutexHandle, osWaitForever);
        printf("New coordinate received from Xbee!\r\n");
        // Removed %f, casting to int to prevent stack corruption
        printf("  Target Lat_int:  %ld\r\n", (int32_t)(lat_float * 10000));
        printf("  Target Lon_int: %ld\r\n", (int32_t)(lon_float * 10000));
        osMutexRelease(printfMutexHandle);
    }
    osDelay(100);
  }
}

void StartBno085Task(void *argument)
{
  osMutexAcquire(printfMutexHandle, osWaitForever);
  printf("BNO085 Task: Initializing...\r\n");
  osMutexRelease(printfMutexHandle);

  enable_Gyroscope(&sensor1, 10);
  osDelay(250);
  enable_LinearAcceleration(&sensor1, 10);
  osDelay(250);
  enable_GameRotationVector(&sensor1, 10);
  osDelay(250);

  osMutexAcquire(printfMutexHandle, osWaitForever);
  printf("BNO085 Task: Waiting for sensor to stabilize...\r\n");
  osMutexRelease(printfMutexHandle);
  osDelay(500);

  osMutexAcquire(printfMutexHandle, osWaitForever);
  printf("BNO085 Task: Taring sensor...\r\n");
  osMutexRelease(printfMutexHandle);
  tare_now(&sensor1, TARE_AXES_ALL, TARE_BASIS_GAME_ROT_VEC);
  osDelay(100);

  osMutexAcquire(printfMutexHandle, osWaitForever);
  printf("BNO085 Task: Ready, interrupt driven\r\n");
  osMutexRelease(printfMutexHandle);

  uint32_t last_print_time = 0;
  uint32_t interrupt_count = 0;
  uint32_t data_read_count = 0;
  uint32_t last_stats_time = 0; // This is unused, safe to ignore warning.

  // Local copies
  float local_heading_offset;
  float new_imu_heading;
  float new_heading_real;

  for(;;)
  {
    // Check for reset (still polled, happens rarely)
    if(get_and_clear_Reset_Status(&sensor1)) {
        osMutexAcquire(printfMutexHandle, osWaitForever);
        printf("IMU reset detected, re-enabling reports...\r\n");
        osMutexRelease(printfMutexHandle);
        enable_Gyroscope(&sensor1, 10);
        osDelay(250);
        enable_LinearAcceleration(&sensor1, 10);
        osDelay(250);
        enable_GameRotationVector(&sensor1, 10);
        osDelay(250);
        tare_now(&sensor1, TARE_AXES_ALL, TARE_BASIS_GAME_ROT_VEC);
        osDelay(500);
    }

    // Wait for interrupt signal (with 100ms timeout as safety)
    if(osSemaphoreAcquire(imuDataReadySemHandle, 100) == osOK) {
        interrupt_count++;

        if(data_available(&sensor1)) {
            data_read_count++;

            // Protect global variables that are used in sendData task
            taskENTER_CRITICAL();
            global_quat_i = get_Quat_I(&sensor1);
            global_quat_j = get_Quat_J(&sensor1);
            global_quat_k = get_Quat_K(&sensor1);
            global_quat_real = get_Quat_Real(&sensor1);

            global_accel_x = get_LinearAcceleration_X(&sensor1);
            global_accel_y = get_LinearAcceleration_Y(&sensor1);
            global_accel_z = get_LinearAcceleration_Z(&sensor1);

            global_gyro_x = get_Gyroscope_X(&sensor1);
            global_gyro_y = get_Gyroscope_Y(&sensor1);
            global_gyro_z = get_Gyroscope_Z(&sensor1);
            taskEXIT_CRITICAL();

            uint8_t accuracy = get_Quat_Accuracy(&sensor1);

            float yaw_rad = atan2f(2.0f * (global_quat_real * global_quat_k + global_quat_i * global_quat_j),
                                   1.0f - 2.0f * (global_quat_j * global_quat_j + global_quat_k * global_quat_k));
            new_imu_heading = yaw_rad * 180.0f / 3.14159265f;  // Convert to degrees
            if (new_imu_heading < 0) new_imu_heading += 360.0f;  // Normalize to 0-360
            new_imu_heading = 360.0f - new_imu_heading;

            //  Safely read the shared offset using mutex
            if (osMutexAcquire(navDataMutexHandle, 10) == osOK) {
                local_heading_offset = navData.heading_offset;
                osMutexRelease(navDataMutexHandle);
            } else {
                // use stale offset
            }

            new_heading_real = fmod(new_imu_heading + local_heading_offset, 360.0);
            if (new_heading_real < 0) new_heading_real += 360.0; // Ensure 0-360 range

            // Safely write to shared variables using mutex
            if (osMutexAcquire(navDataMutexHandle, 10) == osOK) {
                navData.imu_heading = new_imu_heading;
                navData.heading_real = new_heading_real;
                osMutexRelease(navDataMutexHandle);
            }

            uint32_t current_time = osKernelGetTickCount();
            if (current_time - last_print_time >= 500) {
                if(osMutexAcquire(printfMutexHandle, 10) == osOK) {
                    /*
                    printf("Hreal[%.3f] H[%.3f] Off[%.3f] Q[%.3f,%.3f,%.3f,%.3f] A[%.2f,%.2f,%.2f] G[%.3f,%.3f,%.3f] %s\r\n",
                           (double)new_heading_real, (double)new_imu_heading, (double)local_heading_offset, (double)global_quat_i, (double)global_quat_j, (double)global_quat_k, (double)global_quat_real,
                           (double)global_accel_x, (double)global_accel_y, (double)global_accel_z,
                           (double)global_gyro_x, (double)global_gyro_y, (double)global_gyro_z,
                           get_accuracy_string(accuracy));
                    */
                    // Print a safer, minimal log
                    printf("Hreal_int: %d, H_int: %d, Off_int: %d, Acc: %s\r\n",
                           (int)new_heading_real, (int)new_imu_heading, (int)local_heading_offset,
                           get_accuracy_string(accuracy));
                    osMutexRelease(printfMutexHandle);
                }
                last_print_time = current_time;
            }
        }
    } else {
        // Timeout - no interrupt received
        // This is normal during initial startup or if sensor stops
    }

    // Small delay to check for resets periodically
    // Not strictly necessary since we're interrupt-driven now
    osDelay(10);
  }
}

void updateHeadingOffset(void *argument)
{
    // Reduced frequency to 1s (1000ms) for faster offset updates
    // 3 seconds was far too long and would introduce massive lag
	TickType_t xLastWakeTime;
	const TickType_t xFrequency = 1000; // Was 3000

	// Initialise the xLastWakeTime variable with the current time.
	xLastWakeTime = xTaskGetTickCount();

	osMutexAcquire(printfMutexHandle, osWaitForever);
	printf("UpdateHeadingOffset Task Started.\r\n");
	osMutexRelease(printfMutexHandle);

    float local_imu_heading;
    float local_gps_headMot;
    float new_heading_offset;

  for(;;) {
		osMutexAcquire(printfMutexHandle, osWaitForever);
		printf("UpdateHeadingOffset Task ran\r\n");
		osMutexRelease(printfMutexHandle);

        // Safely read shared GPS data
        taskENTER_CRITICAL();
        local_gps_headMot = myGpsData.headMot;
        taskEXIT_CRITICAL();

      if(local_gps_headMot != -1) { // -1 is my init value

        //  Safely read shared IMU data using mutex
        if (osMutexAcquire(navDataMutexHandle, 100) == osOK) {
            local_imu_heading = navData.imu_heading;
            osMutexRelease(navDataMutexHandle);
        } else {
            // Failed to get mutex, skip this update
            vTaskDelayUntil( &xLastWakeTime, xFrequency);
            continue;
        }

        new_heading_offset = local_gps_headMot - local_imu_heading;
        // Normalize the offset
        new_heading_offset = normalize_angle(new_heading_offset);

        // Safely write the new offset using mutex
    	if (osMutexAcquire(navDataMutexHandle, 100) == osOK) {
            navData.heading_offset = new_heading_offset;
            osMutexRelease(navDataMutexHandle);
        }

    	osMutexAcquire(printfMutexHandle, osWaitForever);
    	printf("New heading offset (int): %d\r\n", (int)new_heading_offset);
    	osMutexRelease(printfMutexHandle);
      }

      vTaskDelayUntil( &xLastWakeTime, xFrequency);
  }
}

/*
 * @brief gather data from global variables, send over to Xbee as binary packet
 * [float] GPS Latitude
 * [float] GPS Longitude
 * [float] GPS ALtitude
 * [float] Accel X
 * [float] Accel Y
 * [float] Accel Z
 * [float] Roll Gyro
 * [float] Pitch Gyro
 * [float] Yaw Gyro
 * [float] Quat I
 * [float] Quat J
 * [float] Quat K
 * [char] '\n'
 *
 *
 */

void sendData(void *argument)
{

	TickType_t xLastWakeTime;
	const TickType_t xFrequency = 500;

	// Initialise the xLastWakeTime variable with the current time.
	xLastWakeTime = xTaskGetTickCount();

	uint16_t data_size = sizeof(float) * 12;
	uint8_t buf[data_size + 1];
	float payload[12];

	osMutexAcquire(printfMutexHandle, osWaitForever);
	printf("SendData Task Started.\r\n");
	osMutexRelease(printfMutexHandle);

  for(;;) {
//	  uint16_t data_size = sizeof(float)+sizeof(float) + 1;
//	  uint8_t buf[data_size];

      taskENTER_CRITICAL();
	  payload[0] = myGpsData.Latitude;
	  payload[1] = myGpsData.Longitude;
	  payload[2] = myGpsData.Altitude;
	  payload[3] = global_accel_x;
	  payload[4] = global_accel_y;
	  payload[5] = global_accel_z;
	  payload[6] = global_gyro_x;
	  payload[7] = global_gyro_y;
	  payload[8] = global_gyro_z;
	  payload[9] = global_quat_i;
	  payload[10] = global_quat_j;
	  payload[11] = global_quat_k;
      taskEXIT_CRITICAL();

	  memcpy(buf, payload, data_size);
	  buf[data_size] = '\n';

	  xbee_send_data(buf, data_size + 1);

      if (osMutexAcquire(printfMutexHandle, 10) == osOK) {
          printf("Sent packet: Sats=%d\r\n", myGpsData.Satellites);
          osMutexRelease(printfMutexHandle);
      }

      vTaskDelayUntil(&xLastWakeTime, xFrequency);
  }
}

const char* get_accuracy_string(uint8_t accuracy) {
    switch (accuracy) {
        case 0: return "Unreliable";
        case 1: return "Low";
        case 2: return "Medium";
        case 3: return "High";
        default: return "Unknown";
    }
}
